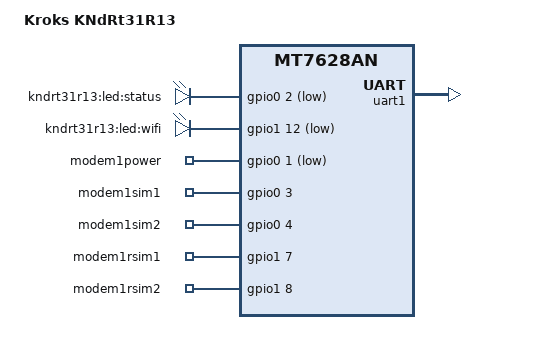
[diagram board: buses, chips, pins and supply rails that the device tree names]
#include "mt7628an_kroks_1eth.dtsi"

/ {
	compatible = "kroks,kndrt31r13", "mediatek,mt7628an-soc";
	model = "Kroks KNdRt31R13";

	aliases {
		led-boot = &led_status;
		led-failsafe = &led_status;
		led-running = &led_status;
		led-upgrade = &led_status;
		serial1 = &uart1;
	};

	leds {
		compatible = "gpio-leds";

		led_status: status {
			label = "kndrt31r13:led:status";
			gpios = <&gpio0 2 GPIO_ACTIVE_LOW>;
		};

		wifi {
			label = "kndrt31r13:led:wifi";
			gpios = <&gpio1 12 GPIO_ACTIVE_LOW>;
			linux,default-trigger = "phy0tpt";
		};
	};

	gpio_export {
		compatible = "gpio-export";
		#size-cells = <0>;

		modem1power {
			gpio-export,name = "modem1power";
			gpio-export,output = <0>;
			gpios = <&gpio0 1 GPIO_ACTIVE_LOW>;
		};

		modem1sim1 {
			gpio-export,name = "modem1sim1";
			gpio-export,output = <0>;
			gpios = <&gpio0 3 GPIO_ACTIVE_HIGH>;
		};

		modem1sim2 {
			gpio-export,name = "modem1sim2";
			gpio-export,output = <0>;
			gpios = <&gpio0 4 GPIO_ACTIVE_HIGH>;
		};

		modem1rsim1 {
			gpio-export,name = "modem1rsim1";
			gpio-export,output = <1>;
			gpios = <&gpio1 7 GPIO_ACTIVE_HIGH>;
		};

		modem1rsim2 {
			gpio-export,name = "modem1rsim2";
			gpio-export,output = <0>;
			gpios = <&gpio1 8 GPIO_ACTIVE_HIGH>;
		};
	};
};

&uart1 {
	status = "okay";
};

&state_default {
	gpio {
		ralink,group = "i2s", "i2c", "p4led_an", "p3led_an", "wled_an";
		ralink,function = "gpio";
	};
};
